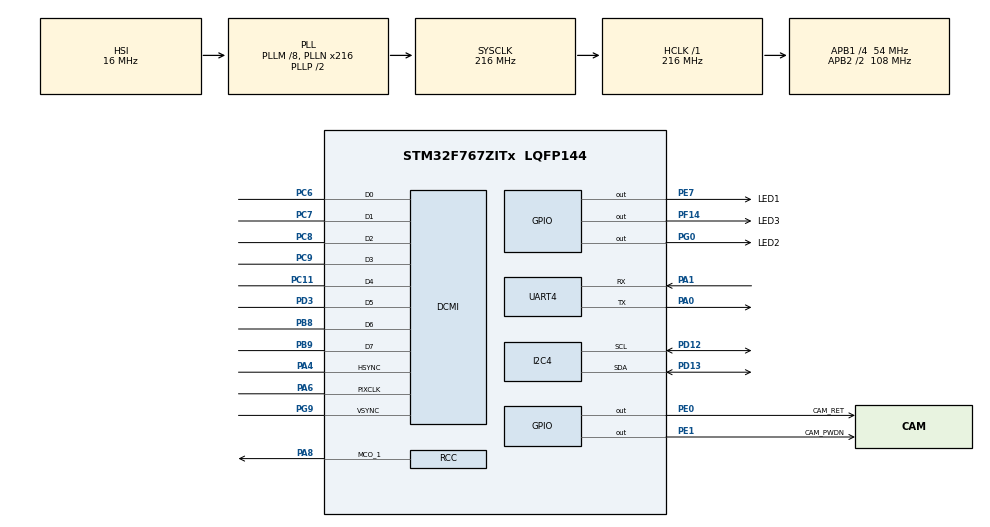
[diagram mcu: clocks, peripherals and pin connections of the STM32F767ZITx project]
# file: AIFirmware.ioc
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CORTEX_M7.ART_ACCLERATOR_ENABLE=1
CORTEX_M7.CPU_DCache=Enabled
CORTEX_M7.CPU_ICache=Enabled
CORTEX_M7.PREFETCH_ENABLE=1
DCMI.HSPolarity=DCMI_HSPOLARITY_HIGH
DCMI.VSPolarity=DCMI_VSPOLARITY_HIGH
Dma.DCMI.0.Direction=DMA_PERIPH_TO_MEMORY
Dma.DCMI.0.FIFOMode=DMA_FIFOMODE_ENABLE
Dma.DCMI.0.FIFOThreshold=DMA_FIFO_THRESHOLD_FULL
Dma.DCMI.0.Instance=DMA2_Stream1
Dma.DCMI.0.MemBurst=DMA_MBURST_SINGLE
Dma.DCMI.0.MemDataAlignment=DMA_MDATAALIGN_HALFWORD
Dma.DCMI.0.MemInc=DMA_MINC_ENABLE
Dma.DCMI.0.Mode=DMA_NORMAL
Dma.DCMI.0.PeriphBurst=DMA_PBURST_SINGLE
Dma.DCMI.0.PeriphDataAlignment=DMA_PDATAALIGN_WORD
Dma.DCMI.0.PeriphInc=DMA_PINC_DISABLE
Dma.DCMI.0.Priority=DMA_PRIORITY_HIGH
Dma.Request0=DCMI
I2C4.Timing=0x20404768
Mcu.Family=STM32F7
Mcu.Name=STM32F767ZITx
Mcu.Package=LQFP144
NVIC.DCMI_IRQn=true\:0\:0\:false\:false\:true\:true\:true
NVIC.DMA2_Stream1_IRQn=true\:0\:0\:false\:false\:true\:false\:true
NVIC.PriorityGroup=NVIC_PRIORITYGROUP_4
PA0/WKUP.Mode=Asynchronous
PA0/WKUP.Signal=UART4_TX
PA1.Mode=Asynchronous
PA1.Signal=UART4_RX
PA13.Mode=Serial_Wire
PA13.Signal=SYS_JTMS-SWDIO
PA14.Mode=Serial_Wire
PA14.Signal=SYS_JTCK-SWCLK
PA4.GPIO_PuPd=GPIO_PULLUP
PA4.GPIO_Speed=GPIO_SPEED_FREQ_HIGH
PA4.Mode=Slave_8_bits_External_Synchro
PA4.Signal=DCMI_HSYNC
PA6.GPIO_PuPd=GPIO_PULLUP
PA6.GPIO_Speed=GPIO_SPEED_FREQ_HIGH
PA6.Mode=Slave_8_bits_External_Synchro
PA6.Signal=DCMI_PIXCLK
PA8.GPIO_Speed=GPIO_SPEED_FREQ_VERY_HIGH
PA8.Mode=Clock-out-1
PA8.Signal=RCC_MCO_1
PB8.GPIO_PuPd=GPIO_PULLUP
PB8.GPIO_Speed=GPIO_SPEED_FREQ_HIGH
PB8.Mode=Slave_8_bits_External_Synchro
PB8.Signal=DCMI_D6
PB9.GPIO_PuPd=GPIO_PULLUP
PB9.GPIO_Speed=GPIO_SPEED_FREQ_HIGH
PB9.Mode=Slave_8_bits_External_Synchro
PB9.Signal=DCMI_D7
PC11.GPIO_PuPd=GPIO_PULLUP
PC11.GPIO_Speed=GPIO_SPEED_FREQ_HIGH
PC11.Mode=Slave_8_bits_External_Synchro
PC11.Signal=DCMI_D4
PC6.GPIO_PuPd=GPIO_PULLUP
PC6.GPIO_Speed=GPIO_SPEED_FREQ_HIGH
PC6.Mode=Slave_8_bits_External_Synchro
PC6.Signal=DCMI_D0
PC7.GPIO_PuPd=GPIO_PULLUP
PC7.GPIO_Speed=GPIO_SPEED_FREQ_HIGH
PC7.Mode=Slave_8_bits_External_Synchro
PC7.Signal=DCMI_D1
PC8.GPIO_PuPd=GPIO_PULLUP
PC8.GPIO_Speed=GPIO_SPEED_FREQ_HIGH
PC8.Mode=Slave_8_bits_External_Synchro
PC8.Signal=DCMI_D2
PC9.GPIO_PuPd=GPIO_PULLUP
PC9.GPIO_Speed=GPIO_SPEED_FREQ_HIGH
PC9.Mode=Slave_8_bits_External_Synchro
PC9.Signal=DCMI_D3
PD12.GPIO_PuPdOD=GPIO_NOPULL
PD12.Mode=I2C
PD12.Signal=I2C4_SCL
PD13.GPIO_PuPdOD=GPIO_NOPULL
PD13.Mode=I2C
PD13.Signal=I2C4_SDA
PD3.GPIO_PuPd=GPIO_PULLUP
PD3.GPIO_Speed=GPIO_SPEED_FREQ_HIGH
PD3.Mode=Slave_8_bits_External_Synchro
PD3.Signal=DCMI_D5
PE0.GPIO_Label=CAM_RET
PE0.Signal=GPIO_Output
PE1.GPIO_Label=CAM_PWDN
PE1.Signal=GPIO_Output
PE7.GPIO_Label=LED1
PE7.Signal=GPIO_Output
PF14.GPIO_Label=LED3
PF14.Signal=GPIO_Output
PF6.Signal=S_TIM10_CH1
PG0.GPIO_Label=LED2
PG0.Signal=GPIO_Output
PG9.GPIO_PuPd=GPIO_PULLUP
PG9.GPIO_Speed=GPIO_SPEED_FREQ_HIGH
PG9.Mode=Slave_8_bits_External_Synchro
PG9.Signal=DCMI_VSYNC
ProjectManager.HeapSize=0x400
ProjectManager.StackSize=0x22000
ProjectManager.TargetToolchain=SW4STM32
RCC.AHBFreq_Value=216000000
RCC.APB1CLKDivider=RCC_HCLK_DIV4
RCC.APB1Freq_Value=54000000
RCC.APB1TimFreq_Value=108000000
RCC.APB2CLKDivider=RCC_HCLK_DIV2
RCC.APB2Freq_Value=108000000
RCC.APB2TimFreq_Value=216000000
RCC.CortexFreq_Value=216000000
RCC.HCLKFreq_Value=216000000
RCC.HSE_VALUE=25000000
RCC.HSI_VALUE=16000000
RCC.LSE_VALUE=32768
RCC.PLLM=8
RCC.PLLN=216
RCC.SYSCLKFreq_VALUE=216000000
RCC.SYSCLKSource=RCC_SYSCLKSOURCE_PLLCLK
RCC.USBFreq_Value=216000000
RCC.VCOOutputFreq_Value=432000000
SH.S_TIM10_CH1.0=TIM10_CH1
STMicroelectronics.X-CUBE-AI.4.1.0.ActivationBufferSizeList=233920
STMicroelectronics.X-CUBE-AI.4.1.0.ApplicationCcArtificialOoIntelligenceJjApplication=ApplicationTemplate
STMicroelectronics.X-CUBE-AI.4.1.0.ArtificialOoIntelligenceJjApplication.cmp_version0=4.1.0
STMicroelectronics.X-CUBE-AI.4.1.0.ArtificialOoIntelligenceJjApplication.component0=Artificial Intelligence
STMicroelectronics.X-CUBE-AI.4.1.0.ArtificialOoIntelligenceJjApplication.description0=AI Application,Application Template
STMicroelectronics.X-CUBE-AI.4.1.0.ArtificialOoIntelligenceJjApplication.diagnostic0=This component should operate correctly.
STMicroelectronics.X-CUBE-AI.4.1.0.ArtificialOoIntelligenceJjApplication.documentation0=Documentation/index.html
STMicroelectronics.X-CUBE-AI.4.1.0.ArtificialOoIntelligenceJjApplication.group0=Application
STMicroelectronics.X-CUBE-AI.4.1.0.ArtificialOoIntelligenceJjApplication.paramName0=ApplicationCcArtificialOoIntelligenceJjApplication
STMicroelectronics.X-CUBE-AI.4.1.0.ArtificialOoIntelligenceJjApplication.sevirity0=none
STMicroelectronics.X-CUBE-AI.4.1.0.ArtificialOoIntelligenceJjApplication.variant0=ApplicationTemplate
STMicroelectronics.X-CUBE-AI.4.1.0.ArtificialOoIntelligenceJjApplication_bundle=Application
STMicroelectronics.X-CUBE-AI.4.1.0.ArtificialOoIntelligenceJjApplication_class=ArtificialOoIntelligence
STMicroelectronics.X-CUBE-AI.4.1.0.ArtificialOoIntelligenceJjApplication_name=X-CUBE-AI
STMicroelectronics.X-CUBE-AI.4.1.0.ArtificialOoIntelligenceJjApplication_size=1
STMicroelectronics.X-CUBE-AI.4.1.0.ArtificialOoIntelligenceJjApplication_vendor=STMicroelectronics
STMicroelectronics.X-CUBE-AI.4.1.0.ArtificialOoIntelligenceJjApplication_version=4.1.0
STMicroelectronics.X-CUBE-AI.4.1.0.ArtificialOoIntelligenceJjXAaCUBEAaAI.cmp_version0=4.1.0
STMicroelectronics.X-CUBE-AI.4.1.0.ArtificialOoIntelligenceJjXAaCUBEAaAI.cmp_version1=4.1.0
STMicroelectronics.X-CUBE-AI.4.1.0.ArtificialOoIntelligenceJjXAaCUBEAaAI.component0=Artificial Intelligence
STMicroelectronics.X-CUBE-AI.4.1.0.ArtificialOoIntelligenceJjXAaCUBEAaAI.component1=Artificial Intelligence
STMicroelectronics.X-CUBE-AI.4.1.0.ArtificialOoIntelligenceJjXAaCUBEAaAI.componentDoc0=nofile
STMicroelectronics.X-CUBE-AI.4.1.0.ArtificialOoIntelligenceJjXAaCUBEAaAI.description0=AI Core,Artificial Intelligence for STM32
STMicroelectronics.X-CUBE-AI.4.1.0.ArtificialOoIntelligenceJjXAaCUBEAaAI.description1=AI Application,Application Template
STMicroelectronics.X-CUBE-AI.4.1.0.ArtificialOoIntelligenceJjXAaCUBEAaAI.diagnostic0=This component should operate correctly.
STMicroelectronics.X-CUBE-AI.4.1.0.ArtificialOoIntelligenceJjXAaCUBEAaAI.diagnostic1=This component should operate correctly.
STMicroelectronics.X-CUBE-AI.4.1.0.ArtificialOoIntelligenceJjXAaCUBEAaAI.documentation0=Documentation/index.html
STMicroelectronics.X-CUBE-AI.4.1.0.ArtificialOoIntelligenceJjXAaCUBEAaAI.documentation1=Documentation/index.html
STMicroelectronics.X-CUBE-AI.4.1.0.ArtificialOoIntelligenceJjXAaCUBEAaAI.group0=Core
STMicroelectronics.X-CUBE-AI.4.1.0.ArtificialOoIntelligenceJjXAaCUBEAaAI.group1=Application
STMicroelectronics.X-CUBE-AI.4.1.0.ArtificialOoIntelligenceJjXAaCUBEAaAI.paramName0=XAaCUBEAaAICcArtificialOoIntelligenceJjCore
STMicroelectronics.X-CUBE-AI.4.1.0.ArtificialOoIntelligenceJjXAaCUBEAaAI.paramName1=ApplicationCcArtificialOoIntelligenceJjApplication
STMicroelectronics.X-CUBE-AI.4.1.0.ArtificialOoIntelligenceJjXAaCUBEAaAI.sevirity0=none
STMicroelectronics.X-CUBE-AI.4.1.0.ArtificialOoIntelligenceJjXAaCUBEAaAI.sevirity1=none
STMicroelectronics.X-CUBE-AI.4.1.0.ArtificialOoIntelligenceJjXAaCUBEAaAI.variant1=ApplicationTemplate
STMicroelectronics.X-CUBE-AI.4.1.0.ArtificialOoIntelligenceJjXAaCUBEAaAI_bundle=X-CUBE-AI
STMicroelectronics.X-CUBE-AI.4.1.0.ArtificialOoIntelligenceJjXAaCUBEAaAI_class=ArtificialOoIntelligence
STMicroelectronics.X-CUBE-AI.4.1.0.ArtificialOoIntelligenceJjXAaCUBEAaAI_name=X-CUBE-AI
STMicroelectronics.X-CUBE-AI.4.1.0.ArtificialOoIntelligenceJjXAaCUBEAaAI_size=2
STMicroelectronics.X-CUBE-AI.4.1.0.ArtificialOoIntelligenceJjXAaCUBEAaAI_vendor=STMicroelectronics
STMicroelectronics.X-CUBE-AI.4.1.0.ArtificialOoIntelligenceJjXAaCUBEAaAI_version=4.1.0
STMicroelectronics.X-CUBE-AI.4.1.0.HeapSize=0x400
STMicroelectronics.X-CUBE-AI.4.1.0.InternalRamActivationBufferMaxSize=AI_NETWORK_DATA_ACTIVATIONS_SIZE
STMicroelectronics.X-CUBE-AI.4.1.0.LatestDirectoryUsed-ad5015abcda4304711e759aa3970fb52cbda5a2d3fedb3c61a06685eb2981ae6=C\:\\Users\\smirthip\\cats_and_dogs_filtered
STMicroelectronics.X-CUBE-AI.4.1.0.ModelActualCompression-ad5015abcda4304711e759aa3970fb52cbda5a2d3fedb3c61a06685eb2981ae6=0.0
STMicroelectronics.X-CUBE-AI.4.1.0.ModelCompression-ad5015abcda4304711e759aa3970fb52cbda5a2d3fedb3c61a06685eb2981ae6=8
STMicroelectronics.X-CUBE-AI.4.1.0.ModelFlashOccupation-ad5015abcda4304711e759aa3970fb52cbda5a2d3fedb3c61a06685eb2981ae6=1736900
STMicroelectronics.X-CUBE-AI.4.1.0.ModelHashList=ad5015abcda4304711e759aa3970fb52cbda5a2d3fedb3c61a06685eb2981ae6
STMicroelectronics.X-CUBE-AI.4.1.0.ModelKind-ad5015abcda4304711e759aa3970fb52cbda5a2d3fedb3c61a06685eb2981ae6=KERAS
STMicroelectronics.X-CUBE-AI.4.1.0.ModelMacc-ad5015abcda4304711e759aa3970fb52cbda5a2d3fedb3c61a06685eb2981ae6=26234010
STMicroelectronics.X-CUBE-AI.4.1.0.ModelName-ad5015abcda4304711e759aa3970fb52cbda5a2d3fedb3c61a06685eb2981ae6=network
STMicroelectronics.X-CUBE-AI.4.1.0.ModelNameList=network
STMicroelectronics.X-CUBE-AI.4.1.0.ModelRamOccupation-ad5015abcda4304711e759aa3970fb52cbda5a2d3fedb3c61a06685eb2981ae6=233920
STMicroelectronics.X-CUBE-AI.4.1.0.ModelStructureFile-ad5015abcda4304711e759aa3970fb52cbda5a2d3fedb3c61a06685eb2981ae6=C\:\\Users\\smirthip\\cats_and_dogs_filtered\\model.h5
STMicroelectronics.X-CUBE-AI.4.1.0.ModelType-ad5015abcda4304711e759aa3970fb52cbda5a2d3fedb3c61a06685eb2981ae6=Saved model
STMicroelectronics.X-CUBE-AI.4.1.0.StackSize=0x22000
STMicroelectronics.X-CUBE-AI.4.1.0.WorkingBufferStartAddrList=0xFFFFFFFF
STMicroelectronics.X-CUBE-AI.4.1.0.XAaCUBEAaAICcArtificialOoIntelligenceJjCore=true
STMicroelectronics.X-CUBE-AI.4.1.0_ArtificialOoIntelligenceJjApplication_RteComponent0=\#define AI_ApplicationTemplate
STMicroelectronics.X-CUBE-AI.4.1.0_ArtificialOoIntelligenceJjApplication_RteComponentsize=1
STMicroelectronics.X-CUBE-AI.4.1.0_ArtificialOoIntelligenceJjXAaCUBEAaAI_RteComponentsize=0
STMicroelectronics.X-CUBE-AI.4.1.0_MwName0=X-CUBE-AI
STMicroelectronics.X-CUBE-AI.4.1.0_MwName1=Application
STMicroelectronics.X-CUBE-AI.4.1.0_NumberOfMw=2
STMicroelectronics.X-CUBE-AI.4.1.0_description=Artificial Intelligence
STMicroelectronics.X-CUBE-AI.4.1.0_license=SLA0048.txt
VP_CRC_VS_CRC.Mode=CRC_Activate
VP_STMicroelectronics.X-CUBE-AI_VS_ArtificialOoIntelligenceJjApplication_4.1.0.Mode=ArtificialOoIntelligenceJjApplication
VP_STMicroelectronics.X-CUBE-AI_VS_ArtificialOoIntelligenceJjXAaCUBEAaAI_4.1.0.Mode=ArtificialOoIntelligenceJjXAaCUBEAaAI
board=custom

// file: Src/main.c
/* USER CODE BEGIN Header */
/**
  ******************************************************************************
  * @file           : main.c
  * @brief          : Main program body
  ******************************************************************************
  * @attention
  *
  * <h2><center>&copy; Copyright (c) 2019 STMicroelectronics.
  * All rights reserved.</center></h2>
  *
  * This software component is licensed by ST under BSD 3-Clause license,
  * the "License"; You may not use this file except in compliance with the
  * License. You may obtain a copy of the License at:
  *                        opensource.org/licenses/BSD-3-Clause
  *
  ******************************************************************************
  */
/* USER CODE END Header */

#include "main.h"
#include "app_x-cube-ai.h"

/* USER CODE BEGIN PD */
#define CAM_BUF (320*240)
#define CROP_BUF (100*100*3)
/* USER CODE END PD */

CRC_HandleTypeDef hcrc;

DCMI_HandleTypeDef hdcmi;
DMA_HandleTypeDef hdma_dcmi;

I2C_HandleTypeDef hi2c4;

UART_HandleTypeDef huart4;

void SystemClock_Config(void);
static void MX_GPIO_Init(void);
static void MX_DMA_Init(void);
static void MX_DCMI_Init(void);
static void MX_I2C4_Init(void);
static void MX_UART4_Init(void);
static void MX_CRC_Init(void);
/* USER CODE BEGIN PFP */
static void Camera_Config(void);
void RGB24_to_Float_Asym(void *pSrc, void *pDst, uint32_t pixels);
void ImageResize(uint8_t *srcImage, uint32_t srcW, uint32_t srcH,
                 uint32_t pixelSize, uint32_t roiX, uint32_t roiY,
                 uint32_t roiW, uint32_t roiH,  uint8_t *dstImage,
                 uint32_t dstW, uint32_t dstH);
/* USER CODE END PFP */

/* USER CODE BEGIN 0 */

// AI and initial capture Buffer -- used for capturing original image
// and then as activations buffer for ML API
AI_ALIGNED(4)
ai_u8 initCapAndActivations[AI_NETWORK_DATA_ACTIVATIONS_SIZE];

AI_ALIGNED(4)
ai_u8 ai_in_data[AI_NETWORK_IN_1_SIZE_BYTES];

AI_ALIGNED(4)
ai_u8 ai_out_data[AI_NETWORK_OUT_1_SIZE_BYTES];

uint8_t my_bmp_header[] = {
		  0x42,0x4D,0x36,0x58,0x02,0x00,0x00,0x00,0x00,0x00, // ID=BM, Filsize=(240x320x2+66)
		  0x42,0x00,0x00,0x00,0x28,0x00,0x00,0x00,           // Offset=66d, Headerlen=40d
		  0x40,0x01,0x00,0x00,0xF0,0x00,0x00,0x00,0x01,0x00, // W=320d, H=240d (landscape)
		  0x10,0x00,0x03,0x00,0x00,0x00,0x00,0x58,0x02,0x00, // 16bpp, bitfields, Data=(240x320x2)
		  0x00,0x00,0x00,0x00,0x00,0x00,0x00,0x00,           // nc
		  0x00,0x00,0x00,0x00,0x00,0x00,0x00,0x00,			 // nc
		  0x00,0xF8,0x00,0x00,0xE0,0x07,0x00,0x00,			 // Color Table
		  0x1F,0x00,0x00,0x00								 // Color Table
};
uint8_t BMP_HEADER_100x100[]={
  0x42,0x4D,0x66,0x75,0x00,0x00,0x00,0x00,0x00,0x00, // ID=BM, Filsize=(100x100x3+54)
  0x36,0x00,0x00,0x00,0x28,0x00,0x00,0x00,           // Offset=54d, Headerlen=40d
  0x64,0x00,0x00,0x00,0x64,0x00,0x00,0x00,0x01,0x00, // W=100d, H=100d (landscape)
  0x18,0x00,0x00,0x00,0x00,0x00,0x30,0x75,0x00,0x00, // 24bpp, unkomprimiert, Data=(100x100x3)
  0x00,0x00,0x00,0x00,0x00,0x00,0x00,0x00,           // nc
  0x00,0x00,0x00,0x00,0x00,0x00,0x00,0x00};          // nc

uint8_t BMP_HEADER_320x240[]={
  0x42,0x4D,0x36,0x84,0x03,0x00,0x00,0x00,0x00,0x00, // ID=BM, Filsize=(320x240x3+54)
  0x36,0x00,0x00,0x00,0x28,0x00,0x00,0x00,           // Offset=54d, Headerlen=40d
  0x40,0x01,0x00,0x00,0xF0,0x00,0x00,0x00,0x01,0x00, // W=320d, H=240d (landscape)
  0x18,0x00,0x00,0x00,0x00,0x00,0x00,0x84,0x03,0x00, // 24bpp, unkomprimiert, Data=(320x240x3)
  0x00,0x00,0x00,0x00,0x00,0x00,0x00,0x00,           // nc
  0x00,0x00,0x00,0x00,0x00,0x00,0x00,0x00};          // nc

/* USER CODE END 0 */

int main(void)
{

  /* Enable I-Cache---------------------------------------------------------*/
  SCB_EnableICache();

  /* Enable D-Cache---------------------------------------------------------*/
  SCB_EnableDCache();

  /* MCU Configuration--------------------------------------------------------*/

  /* Reset of all peripherals, Initializes the Flash interface and the Systick. */
  HAL_Init();

  /* Configure the system clock */
  SystemClock_Config();

  /* Initialize all configured peripherals */
  MX_GPIO_Init();
  MX_DMA_Init();
  MX_DCMI_Init();
  MX_I2C4_Init();
  MX_UART4_Init();
  MX_CRC_Init();
  MX_X_CUBE_AI_Init();
  /* USER CODE BEGIN 2 */

  // init
  Camera_Config();
  aiInit(initCapAndActivations);
  uint8_t RGB888[CAM_BUF*3] = {0};
  HAL_Delay(2000);
  /* USER CODE END 2 */

  /* Infinite loop */
  /* USER CODE BEGIN WHILE */
  while (1) {
	  // image capture
	  HAL_DCMI_Start_DMA(&hdcmi,DCMI_MODE_SNAPSHOT,(uint32_t) &initCapAndActivations,
		  		(uint32_t) CAM_BUF);
	  HAL_Delay(800);
	  if(HAL_DCMI_GetState(&hdcmi) != HAL_DCMI_STATE_READY) {
		  HAL_DCMI_Stop(&hdcmi);
		  uint8_t error = 'E';
		  HAL_UART_Transmit(&huart4,&error,1,200);
	  }
	  else {
		  // convert to RGB888 and flip R and B
		  int pix = 0;

		  for(int i = 0;i < (CAM_BUF*2);i+=2) {
			  RGB888[pix] = ((initCapAndActivations[i+1]&0xF8));  // 5bit red
			  RGB888[pix+1] = (((initCapAndActivations[i]&0xE0)>>3) |
					  ((initCapAndActivations[i+1]&0x7)<<5));  // 6bit green
			  RGB888[pix+2] = ((initCapAndActivations[i]&0x1F)<<3);  // 5bit blue
			  pix += 3;
		  }

		  /*HAL_UART_Transmit(&huart4, BMP_HEADER_320x240,sizeof(BMP_HEADER_320x240),2000);
	  	  for(int i = 0;i < CAM_BUF*3;i++) {
	      	  HAL_UART_Transmit(&huart4,&RGB888[i],1,2000);
	  	  }*/

		  ImageResize(RGB888, 320, 240, 3, 0, 0, 0, 0, ai_in_data, 100, 100);

		  /*HAL_UART_Transmit(&huart4, BMP_HEADER_100x100,sizeof(BMP_HEADER_100x100),2000);
	  	  for(int i = 0;i < CROP_BUF;i++) {
	      	  HAL_UART_Transmit(&huart4,&ai_in_data[i],1,2000);
	  	  }*/

		  // scale pixels [0,1]
		  RGB24_to_Float_Asym((void*)ai_in_data,(void*)ai_in_data,(uint32_t)CROP_BUF/3);

		  // run inference
		  aiRun((void*)ai_in_data,(void*)ai_out_data);
		  int* percent = (int*) ai_out_data;
	  	  uint8_t result = (*percent) > 0 ? 'F' : 'N';
	  	  HAL_UART_Transmit(&huart4,&result,1,2000);
	  	  HAL_GPIO_WritePin(LED2_GPIO_Port,LED2_Pin,GPIO_PIN_SET);
	  }
	  HAL_Delay(10000);
  	  HAL_GPIO_WritePin(LED2_GPIO_Port,LED2_Pin,GPIO_PIN_RESET);
  	  HAL_NVIC_SystemReset();
    /* USER CODE END WHILE */

  MX_X_CUBE_AI_Process();
  }
}

void SystemClock_Config(void)
{
  RCC_OscInitTypeDef RCC_OscInitStruct = {0};
  RCC_ClkInitTypeDef RCC_ClkInitStruct = {0};
  RCC_PeriphCLKInitTypeDef PeriphClkInitStruct = {0};

  /** Configure the main internal regulator output voltage
  */
  __HAL_RCC_PWR_CLK_ENABLE();
  __HAL_PWR_VOLTAGESCALING_CONFIG(PWR_REGULATOR_VOLTAGE_SCALE1);
  /** Initializes the CPU, AHB and APB busses clocks
  */
  RCC_OscInitStruct.OscillatorType = RCC_OSCILLATORTYPE_HSI;
  RCC_OscInitStruct.HSIState = RCC_HSI_ON;
  RCC_OscInitStruct.HSICalibrationValue = RCC_HSICALIBRATION_DEFAULT;
  RCC_OscInitStruct.PLL.PLLState = RCC_PLL_ON;
  RCC_OscInitStruct.PLL.PLLSource = RCC_PLLSOURCE_HSI;
  RCC_OscInitStruct.PLL.PLLM = 8;
  RCC_OscInitStruct.PLL.PLLN = 216;
  RCC_OscInitStruct.PLL.PLLP = RCC_PLLP_DIV2;
  RCC_OscInitStruct.PLL.PLLQ = 2;
  if (HAL_RCC_OscConfig(&RCC_OscInitStruct) != HAL_OK)
  {
    Error_Handler();
  }
  /** Activate the Over-Drive mode
  */
  if (HAL_PWREx_EnableOverDrive() != HAL_OK)
  {
    Error_Handler();
  }
  /** Initializes the CPU, AHB and APB busses clocks
  */
  RCC_ClkInitStruct.ClockType = RCC_CLOCKTYPE_HCLK|RCC_CLOCKTYPE_SYSCLK
                              |RCC_CLOCKTYPE_PCLK1|RCC_CLOCKTYPE_PCLK2;
  RCC_ClkInitStruct.SYSCLKSource = RCC_SYSCLKSOURCE_PLLCLK;
  RCC_ClkInitStruct.AHBCLKDivider = RCC_SYSCLK_DIV1;
  RCC_ClkInitStruct.APB1CLKDivider = RCC_HCLK_DIV4;
  RCC_ClkInitStruct.APB2CLKDivider = RCC_HCLK_DIV2;

  if (HAL_RCC_ClockConfig(&RCC_ClkInitStruct, FLASH_LATENCY_7) != HAL_OK)
  {
    Error_Handler();
  }
  PeriphClkInitStruct.PeriphClockSelection = RCC_PERIPHCLK_UART4|RCC_PERIPHCLK_I2C4;
  PeriphClkInitStruct.Uart4ClockSelection = RCC_UART4CLKSOURCE_PCLK1;
  PeriphClkInitStruct.I2c4ClockSelection = RCC_I2C4CLKSOURCE_PCLK1;
  if (HAL_RCCEx_PeriphCLKConfig(&PeriphClkInitStruct) != HAL_OK)
  {
    Error_Handler();
  }
  HAL_RCC_MCOConfig(RCC_MCO1, RCC_MCO1SOURCE_HSI, RCC_MCODIV_1);
}

static void MX_CRC_Init(void)
{

  hcrc.Instance = CRC;
  hcrc.Init.DefaultPolynomialUse = DEFAULT_POLYNOMIAL_ENABLE;
  hcrc.Init.DefaultInitValueUse = DEFAULT_INIT_VALUE_ENABLE;
  hcrc.Init.InputDataInversionMode = CRC_INPUTDATA_INVERSION_NONE;
  hcrc.Init.OutputDataInversionMode = CRC_OUTPUTDATA_INVERSION_DISABLE;
  hcrc.InputDataFormat = CRC_INPUTDATA_FORMAT_BYTES;
  if (HAL_CRC_Init(&hcrc) != HAL_OK)
  {
    Error_Handler();
  }

}

static void MX_DCMI_Init(void)
{

  hdcmi.Instance = DCMI;
  hdcmi.Init.SynchroMode = DCMI_SYNCHRO_HARDWARE;
  hdcmi.Init.PCKPolarity = DCMI_PCKPOLARITY_FALLING;
  hdcmi.Init.VSPolarity = DCMI_VSPOLARITY_HIGH;
  hdcmi.Init.HSPolarity = DCMI_HSPOLARITY_HIGH;
  hdcmi.Init.CaptureRate = DCMI_CR_ALL_FRAME;
  hdcmi.Init.ExtendedDataMode = DCMI_EXTEND_DATA_8B;
  hdcmi.Init.JPEGMode = DCMI_JPEG_DISABLE;
  hdcmi.Init.ByteSelectMode = DCMI_BSM_ALL;
  hdcmi.Init.ByteSelectStart = DCMI_OEBS_ODD;
  hdcmi.Init.LineSelectMode = DCMI_LSM_ALL;
  hdcmi.Init.LineSelectStart = DCMI_OELS_ODD;
  if (HAL_DCMI_Init(&hdcmi) != HAL_OK)
  {
    Error_Handler();
  }

}

static void MX_I2C4_Init(void)
{

  hi2c4.Instance = I2C4;
  hi2c4.Init.Timing = 0x20404768;
  hi2c4.Init.OwnAddress1 = 0;
  hi2c4.Init.AddressingMode = I2C_ADDRESSINGMODE_7BIT;
  hi2c4.Init.DualAddressMode = I2C_DUALADDRESS_DISABLE;
  hi2c4.Init.OwnAddress2 = 0;
  hi2c4.Init.OwnAddress2Masks = I2C_OA2_NOMASK;
  hi2c4.Init.GeneralCallMode = I2C_GENERALCALL_DISABLE;
  hi2c4.Init.NoStretchMode = I2C_NOSTRETCH_DISABLE;
  if (HAL_I2C_Init(&hi2c4) != HAL_OK)
  {
    Error_Handler();
  }
  /** Configure Analogue filter
  */
  if (HAL_I2CEx_ConfigAnalogFilter(&hi2c4, I2C_ANALOGFILTER_ENABLE) != HAL_OK)
  {
    Error_Handler();
  }
  /** Configure Digital filter
  */
  if (HAL_I2CEx_ConfigDigitalFilter(&hi2c4, 0) != HAL_OK)
  {
    Error_Handler();
  }

}

static void MX_UART4_Init(void)
{

  huart4.Instance = UART4;
  huart4.Init.BaudRate = 115200;
  huart4.Init.WordLength = UART_WORDLENGTH_8B;
  huart4.Init.StopBits = UART_STOPBITS_1;
  huart4.Init.Parity = UART_PARITY_NONE;
  huart4.Init.Mode = UART_MODE_TX_RX;
  huart4.Init.HwFlowCtl = UART_HWCONTROL_NONE;
  huart4.Init.OverSampling = UART_OVERSAMPLING_16;
  huart4.Init.OneBitSampling = UART_ONE_BIT_SAMPLE_DISABLE;
  huart4.AdvancedInit.AdvFeatureInit = UART_ADVFEATURE_NO_INIT;
  if (HAL_UART_Init(&huart4) != HAL_OK)
  {
    Error_Handler();
  }

}

static void MX_DMA_Init(void)
{

  /* DMA controller clock enable */
  __HAL_RCC_DMA2_CLK_ENABLE();

  /* DMA interrupt init */
  /* DMA2_Stream1_IRQn interrupt configuration */
  HAL_NVIC_SetPriority(DMA2_Stream1_IRQn, 0, 0);
  HAL_NVIC_EnableIRQ(DMA2_Stream1_IRQn);

}

static void MX_GPIO_Init(void)
{
  GPIO_InitTypeDef GPIO_InitStruct = {0};

  /* GPIO Ports Clock Enable */
  __HAL_RCC_GPIOF_CLK_ENABLE();
  __HAL_RCC_GPIOA_CLK_ENABLE();
  __HAL_RCC_GPIOG_CLK_ENABLE();
  __HAL_RCC_GPIOE_CLK_ENABLE();
  __HAL_RCC_GPIOD_CLK_ENABLE();
  __HAL_RCC_GPIOC_CLK_ENABLE();
  __HAL_RCC_GPIOB_CLK_ENABLE();

  /*Configure GPIO pin Output Level */
  HAL_GPIO_WritePin(LED3_GPIO_Port, LED3_Pin, GPIO_PIN_RESET);

  /*Configure GPIO pin Output Level */
  HAL_GPIO_WritePin(LED2_GPIO_Port, LED2_Pin, GPIO_PIN_RESET);

  /*Configure GPIO pin Output Level */
  HAL_GPIO_WritePin(GPIOE, LED1_Pin|CAM_RET_Pin|CAM_PWDN_Pin, GPIO_PIN_RESET);

  /*Configure GPIO pin : PF6 */
  GPIO_InitStruct.Pin = GPIO_PIN_6;
  GPIO_InitStruct.Mode = GPIO_MODE_AF_PP;
  GPIO_InitStruct.Pull = GPIO_NOPULL;
  GPIO_InitStruct.Speed = GPIO_SPEED_FREQ_LOW;
  GPIO_InitStruct.Alternate = GPIO_AF3_TIM10;
  HAL_GPIO_Init(GPIOF, &GPIO_InitStruct);

  /*Configure GPIO pin : LED3_Pin */
  GPIO_InitStruct.Pin = LED3_Pin;
  GPIO_InitStruct.Mode = GPIO_MODE_OUTPUT_PP;
  GPIO_InitStruct.Pull = GPIO_NOPULL;
  GPIO_InitStruct.Speed = GPIO_SPEED_FREQ_LOW;
  HAL_GPIO_Init(LED3_GPIO_Port, &GPIO_InitStruct);

  /*Configure GPIO pin : LED2_Pin */
  GPIO_InitStruct.Pin = LED2_Pin;
  GPIO_InitStruct.Mode = GPIO_MODE_OUTPUT_PP;
  GPIO_InitStruct.Pull = GPIO_NOPULL;
  GPIO_InitStruct.Speed = GPIO_SPEED_FREQ_LOW;
  HAL_GPIO_Init(LED2_GPIO_Port, &GPIO_InitStruct);

  /*Configure GPIO pins : LED1_Pin CAM_RET_Pin CAM_PWDN_Pin */
  GPIO_InitStruct.Pin = LED1_Pin|CAM_RET_Pin|CAM_PWDN_Pin;
  GPIO_InitStruct.Mode = GPIO_MODE_OUTPUT_PP;
  GPIO_InitStruct.Pull = GPIO_NOPULL;
  GPIO_InitStruct.Speed = GPIO_SPEED_FREQ_LOW;
  HAL_GPIO_Init(GPIOE, &GPIO_InitStruct);

  /*Configure GPIO pin : PA8 */
  GPIO_InitStruct.Pin = GPIO_PIN_8;
  GPIO_InitStruct.Mode = GPIO_MODE_AF_PP;
  GPIO_InitStruct.Pull = GPIO_NOPULL;
  GPIO_InitStruct.Speed = GPIO_SPEED_FREQ_VERY_HIGH;
  GPIO_InitStruct.Alternate = GPIO_AF0_MCO;
  HAL_GPIO_Init(GPIOA, &GPIO_InitStruct);

}

/* USER CODE BEGIN 4 */
static void Camera_Config(void) {
	uint8_t reset = 0x80;
	HAL_I2C_Mem_Write(&hi2c4,0x60,0x12,I2C_MEMADD_SIZE_8BIT,&reset,1,2000);
	HAL_Delay(200);

	static uint8_t OV9655_QVGA_TAB[][2]=
	{
	  {0x00,0x00},{0x01,0x80},{0x02,0x80},{0x03,0x02},{0x04,0x03},{0x09,0x01},
	  {0x0b,0x57},{0x0e,0x61},{0x0f,0x40},{0x11,0x01},{0x12,0x62},{0x13,0xc7},
	  {0x14,0x3a},{0x16,0x24},{0x17,0x18},{0x18,0x04},{0x19,0x01},{0x1a,0x81},
	  {0x1e,0x10},{0x24,0x3c},{0x25,0x36},{0x26,0x72},{0x27,0x08},{0x28,0x08},
	  {0x29,0x15},{0x2a,0x00},{0x2b,0x00},{0x2c,0x08},{0x32,0x12},{0x33,0x00},
	  {0x34,0x3f},{0x35,0x00},{0x36,0x3a},{0x38,0x72},{0x39,0x57},{0x3a,0xcc},
	  {0x3b,0x04},{0x3d,0x99},{0x3e,0x02},{0x3f,0xc1},{0x40,0xc0},{0x41,0x41},
	  {0x42,0xc0},{0x43,0x0a},{0x44,0xf0},{0x45,0x46},{0x46,0x62},{0x47,0x2a},
	  {0x48,0x3c},{0x4a,0xfc},{0x4b,0xfc},{0x4c,0x7f},{0x4d,0x7f},{0x4e,0x7f},
	  {0x4f,0x98},{0x50,0x98},{0x51,0x00},{0x52,0x28},{0x53,0x70},{0x54,0x98},
	  {0x58,0x1a},{0x59,0x85},{0x5a,0xa9},{0x5b,0x64},{0x5c,0x84},{0x5d,0x53},
	  {0x5e,0x0e},{0x5f,0xf0},{0x60,0xf0},{0x61,0xf0},{0x62,0x00},{0x63,0x00},
	  {0x64,0x02},{0x65,0x20},{0x66,0x00},{0x69,0x0a},{0x6b,0x5a},{0x6c,0x04},
	  {0x6d,0x55},{0x6e,0x00},{0x6f,0x9d},{0x70,0x21},{0x71,0x78},{0x72,0x11},
	  {0x73,0x01},{0x74,0x10},{0x75,0x10},{0x76,0x01},{0x77,0x02},{0x7A,0x12},
	  {0x7B,0x08},{0x7C,0x16},{0x7D,0x30},{0x7E,0x5e},{0x7F,0x72},{0x80,0x82},
	  {0x81,0x8e},{0x82,0x9a},{0x83,0xa4},{0x84,0xac},{0x85,0xb8},{0x86,0xc3},
	  {0x87,0xd6},{0x88,0xe6},{0x89,0xf2},{0x8a,0x24},{0x8c,0x80},{0x90,0x7d},
	  {0x91,0x7b},{0x9d,0x02},{0x9e,0x02},{0x9f,0x7a},{0xa0,0x79},{0xa1,0x40},
	  {0xa4,0x50},{0xa5,0x68},{0xa6,0x4a},{0xa8,0xc1},{0xa9,0xef},{0xaa,0x92},
	  {0xab,0x04},{0xac,0x80},{0xad,0x80},{0xae,0x80},{0xaf,0x80},{0xb2,0xf2},
	  {0xb3,0x20},{0xb4,0x20},{0xb5,0x00},{0xb6,0xaf},{0xb6,0xaf},{0xbb,0xae},
	  {0xbc,0x7f},{0xbd,0x7f},{0xbe,0x7f},{0xbf,0x7f},{0xbf,0x7f},{0xc0,0xaa},
	  {0xc1,0xc0},{0xc2,0x01},{0xc3,0x4e},{0xc6,0x05},{0xc7,0x81},{0xc9,0xe0},
	  {0xca,0xe8},{0xcb,0xf0},{0xcc,0xd8},{0xcd,0x93},{0x12,0x63},{0x40,0x10},
	  {0x15,0x08}
	};
	for(int i = 0;i < sizeof(OV9655_QVGA_TAB)/2;i++) {
		HAL_I2C_Mem_Write(&hi2c4,0x60,OV9655_QVGA_TAB[i][0],I2C_MEMADD_SIZE_8BIT,&(OV9655_QVGA_TAB[i][1]),1,2000);
		HAL_Delay(2);
	}
}

/**
  * @brief  Performs pixel conversion from 8-bits integer to float simple precision with asymmetric normalization, i.e. in the range [0,+1]
  * @param  pSrc     Pointer to source buffer
  * @param  pDst     Pointer to destination buffer
  * @param  pixels   Number of pixels
  * @retval void     None
  */
void RGB24_to_Float_Asym(void *pSrc, void *pDst, uint32_t pixels)
{
  struct rgb
  {
    uint8_t r, g, b;
  };
  struct rgbf
  {
    float r, g, b;
  };
  struct rgb *pivot = (struct rgb *) pSrc;
  struct rgbf *dest = (struct rgbf *) pDst;
  for (int i = 0; i < pixels; i++)
  {
    dest[i].r = (((float)(pivot[i].b)) / 255.0F);
    dest[i].g = (((float)(pivot[i].g)) / 255.0F);
    dest[i].b = (((float)(pivot[i].r)) / 255.0F);
  }

  /*==> NN input data in the range [0 , +1]*/
}
/**
  * @brief  Performs image (or selected Region Of Interest) resizing using bilinear interpolation
  * @param  srcImage     Pointer to source image buffer
  * @param  srcW         Source image width
  * @param  srcH         Source image height
  * @param  pixelSize    Number of bytes per pixel
  * @param  roiX         Region Of Interest x starting location
  * @param  roiY         Region Of Interest y starting location
  * @param  roiW         Region Of Interest width
  * @param  roiH         Region Of Interest height
  * @param  dstImage     Pointer to destination image buffer
  * @param  dstW         Destination image width
  * @param  dstH         Destination image height
  * @retval void         None
  */
void ImageResize(uint8_t *srcImage, uint32_t srcW, uint32_t srcH,
                 uint32_t pixelSize, uint32_t roiX, uint32_t roiY,
                 uint32_t roiW, uint32_t roiH,  uint8_t *dstImage,
                 uint32_t dstW, uint32_t dstH)
{
  int32_t srcStride;
  float widthRatio;
  float heightRatio;

  int32_t maxWidth;
  int32_t maxHeight;

  float srcX, srcY, dX1, dY1, dX2, dY2;
  int32_t dstX1, srcY1, dstX2, srcY2;

  uint8_t *tmp1, *tmp2;
  uint8_t *p1, *p2, *p3, *p4;

  int32_t offset1;
  int32_t offset2;

  srcStride = pixelSize * srcW;

  widthRatio = ((roiW ? roiW : srcW) / (float) dstW);
  heightRatio = ((roiH ? roiH : srcH) / (float) dstH);

  /* Get horizontal and vertical limits. */
  maxWidth = (roiW ? roiW : srcW) - 1;
  maxHeight = (roiH ? roiH : srcH) - 1;

  for (int32_t y = 0; y < dstH; y++)
  {
    /* Get Y from source. */
    srcY = ((float) y * heightRatio) + roiY;
    srcY1 = (int32_t) srcY;
    srcY2 = (srcY1 == maxHeight) ? srcY1 : srcY1 + 1;
    dY1 = srcY - (float) srcY1;
    dY2 = 1.0f - dY1;

    /* Calculates the pointers to the two needed lines of the source. */
    tmp1 = srcImage + srcY1 * srcStride;
    tmp2 = srcImage + srcY2 * srcStride;

    for (int32_t x = 0; x < dstW; x++)
    {
      /* Get X from source. */
      srcX = x * widthRatio + roiX;
      dstX1 = (int32_t) srcX;
      dstX2 = (dstX1 == maxWidth) ? dstX1 : dstX1 + 1;
      dX1 = srcX - /*(float32)*/dstX1;
      dX2 = 1.0f - dX1;

      /* Calculates the four points (p1,p2, p3, p4) of the source. */
      offset1 = dstX1 * pixelSize;
      offset2 = dstX2 * pixelSize;
      p1 = tmp1 + offset1;
      p2 = tmp1 + offset2;
      p3 = tmp2 + offset1;
      p4 = tmp2 + offset2;
      /* For each channel, interpolate the four points. */
      for (int32_t ch = 0; ch < pixelSize; ch++, dstImage++, p1++, p2++, p3++, p4++)
      {
        *dstImage = (uint8_t)(dY2 * (dX2 * (*p1) + dX1 * (*p2)) + dY1 * (dX2 * (*p3) + dX1 * (*p4)));
      }
    }
  }
}
/* USER CODE END 4 */

void Error_Handler(void)
{
}

/************************ (C) COPYRIGHT STMicroelectronics *****END OF FILE****/
